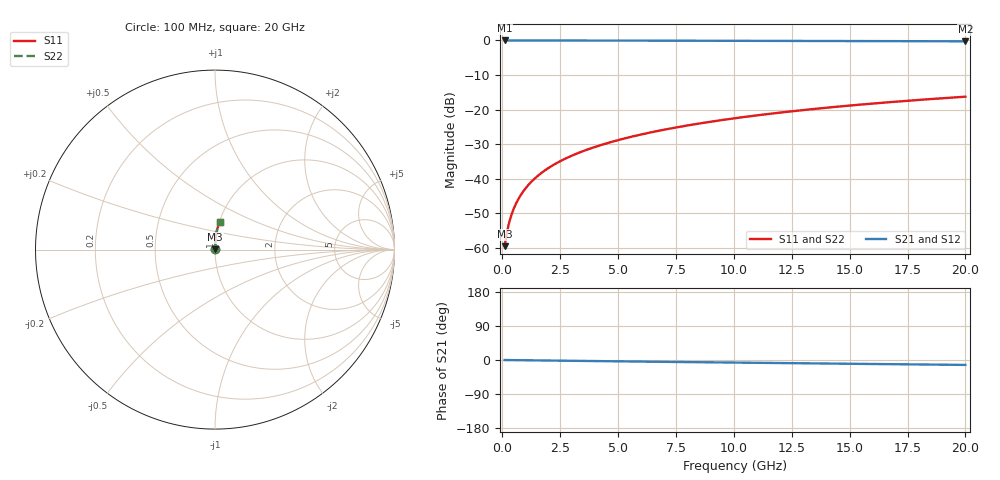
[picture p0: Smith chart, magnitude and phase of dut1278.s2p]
! Touchstone file exported from HFSS 2024.1.0
!  File:  C:/UserFiles/LocalFiles/RDL_TSV_Batchsim/temp_RDL_top_1278_1780242442.aedt
!  Generated:  11:49:25 PM May 31, 2026
!  Design:  RDL_top
!  Project:  temp_RDL_top_1278_1780242442
!  Setup:  Setup1
!  Solution:  Sweep
! Variables:
!  dtsv = 10.80580581um
!  hbump = 3um
!  htsv = 76.33um
!  ldown = 100um
!  lrdl = 150.6um
!  p = 40
!  p1 = 48.25um
!  rhole = 1um
!  t = 450um
!  tdown = 3.915915916um
!  trdl = 4.96um
!  wdown = 15.38538539um
!  wrdl = 18um
# GHz S MA R 50.000000
! Terminal data exported
! Port[1] = Box2_T1
! Port[2] = Box2_T2
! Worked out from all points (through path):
!   200 points, 100 MHz to 20 GHz, reference 50 ohm
!   highest |S21| = -0.01 dB at 100 MHz (marker M1); lowest = -0.3 dB at 20 GHz (marker M2)
!   group delay of S21, straight-line fit = 1.78 ps
!   lowest |S11| = -59.5 dB at 100 MHz (marker M3), VSWR 1.00, Z = 50.1 + j0.0758 ohm
!   |S11| at or under -10 dB: start of sweep to end of sweep
!   |S22| runs from -59.5 to -16.3 dB; largest |S21 - S12| = 2e-15
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0.1  0.001056 45.8  0.9993 -0.1  0.9993 -0.1  0.001056 45.8
! Gamma 0 0 0 0
! Port Impedance 50 0 50 0
0.2  0.001678 62.8  0.9992 -0.2  0.9992 -0.2  0.001678 62.8
0.3  0.002349 70.2  0.9992 -0.2  0.9992 -0.2  0.002349 70.2
0.4  0.003031 74.4  0.9991 -0.3  0.9991 -0.3  0.003031 74.4
0.5  0.003719 77.1  0.9991 -0.4  0.9991 -0.4  0.003719 77.1
0.6  0.004413 79.0  0.9991 -0.4  0.9991 -0.4  0.004413 79.0
0.8  0.005811 81.5  0.999 -0.6  0.999 -0.6  0.005811 81.5
1.1  0.007926 83.7  0.9989 -0.8  0.9989 -0.8  0.007926 83.7
1.5  0.01076 85.3  0.9987 -1.1  0.9987 -1.1  0.01076 85.3
1.8  0.0129 86.0  0.9985 -1.3  0.9985 -1.3  0.0129 86.0
2.1  0.01504 86.5  0.9982 -1.5  0.9982 -1.5  0.01504 86.5
2.7  0.01934 87.2  0.9977 -2.0  0.9977 -2.0  0.01934 87.2
3.5  0.02512 87.7  0.9969 -2.5  0.9969 -2.5  0.02512 87.7
4.2  0.03022 87.9  0.996 -3.0  0.996 -3.0  0.03022 87.9
5  0.03612 88.0  0.9949 -3.6  0.9949 -3.6  0.03612 88.0
5.9  0.04285 88.0  0.9937 -4.2  0.9937 -4.2  0.04285 88.0
6.8  0.04967 87.9  0.9923 -4.8  0.9923 -4.8  0.04967 87.9
8.4  0.06201 87.4  0.9899 -5.8  0.9899 -5.8  0.06201 87.4
10.1  0.07534 86.7  0.9872 -6.9  0.9872 -6.9  0.07534 86.7
13.4  0.1015 84.8  0.9821 -8.9  0.9821 -8.9  0.1015 84.8
16.7  0.1277 82.7  0.9769 -11.0  0.9769 -11.0  0.1277 82.7
20  0.1536 80.4  0.9715 -13.0  0.9715 -13.0  0.1536 80.4
